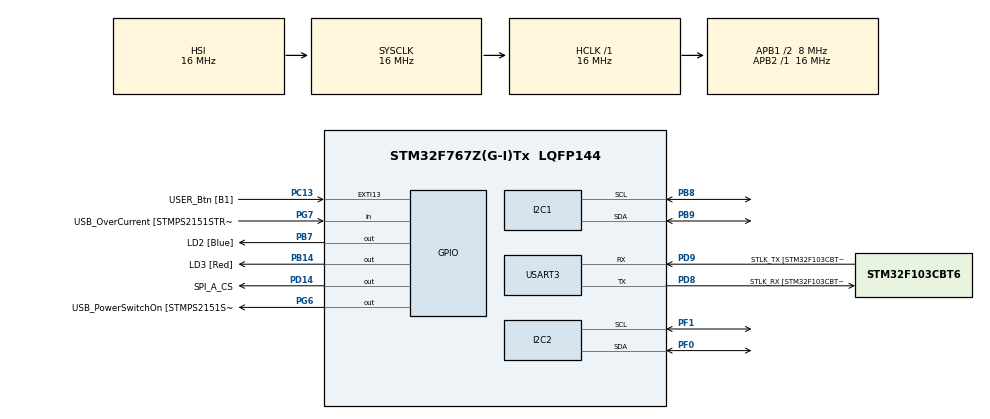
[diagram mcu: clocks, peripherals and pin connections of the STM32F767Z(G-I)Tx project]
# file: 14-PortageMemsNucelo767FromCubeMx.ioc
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Mcu.Family=STM32F7
Mcu.Name=STM32F767Z(G-I)Tx
Mcu.Package=LQFP144
NVIC.PriorityGroup=NVIC_PRIORITYGROUP_4
PA1.GPIO_Label=RMII_REF_CLK [LAN8742A-CZ-TR_REFCLK0]
PA1.Signal=ETH_REF_CLK
PA10.GPIO_Label=USB_ID
PA10.Signal=USB_OTG_FS_ID
PA11.GPIO_Label=USB_DM
PA11.Signal=USB_OTG_FS_DM
PA12.GPIO_Label=USB_DP
PA12.Signal=USB_OTG_FS_DP
PA13.GPIO_Label=TMS
PA13.Signal=SYS_JTMS-SWDIO
PA14.GPIO_Label=TCK
PA14.Signal=SYS_JTCK-SWCLK
PA2.GPIO_Label=RMII_MDIO [LAN8742A-CZ-TR_MDIO]
PA2.Signal=ETH_MDIO
PA5.GPIO_Label=SPI_A_SCK
PA5.Signal=SPI1_SCK
PA6.GPIO_Label=SPI_A_MISO
PA6.Signal=SPI1_MISO
PA7.GPIO_Label=RMII_CRS_DV [LAN8742A-CZ-TR_CRS_DV]
PA7.Signal=ETH_CRS_DV
PA8.GPIO_Label=USB_SOF [TP1]
PA8.Signal=USB_OTG_FS_SOF
PA9.GPIO_Label=USB_VBUS
PA9.Signal=USB_OTG_FS_VBUS
PB13.GPIO_Label=RMII_TXD1 [LAN8742A-CZ-TR_TXD1]
PB13.Signal=ETH_TXD1
PB14.GPIO_Label=LD3 [Red]
PB14.Signal=GPIO_Output
PB3.GPIO_Label=SW0
PB3.Signal=SYS_JTDO-SWO
PB7.GPIO_Label=LD2 [Blue]
PB7.Signal=GPIO_Output
PB8.Mode=I2C
PB8.Signal=I2C1_SCL
PB9.Mode=I2C
PB9.Signal=I2C1_SDA
PC1.GPIO_Label=RMII_MDC [LAN8742A-CZ-TR_MDC]
PC1.Signal=ETH_MDC
PC13.GPIO_Label=USER_Btn [B1]
PC13.Signal=GPXTI13
PC14/OSC32_IN.Signal=RCC_OSC32_IN
PC15/OSC32_OUT.Signal=RCC_OSC32_OUT
PC4.GPIO_Label=RMII_RXD0 [LAN8742A-CZ-TR_RXD0]
PC4.Signal=ETH_RXD0
PC5.GPIO_Label=RMII_RXD1 [LAN8742A-CZ-TR_RXD1]
PC5.Signal=ETH_RXD1
PD14.GPIO_Label=SPI_A_CS
PD14.Signal=GPIO_Output
PD8.GPIO_Label=STLK_RX [STM32F103CBT6_PA3]
PD8.Mode=Asynchronous
PD8.Signal=USART3_TX
PD9.GPIO_Label=STLK_TX [STM32F103CBT6_PA2]
PD9.Mode=Asynchronous
PD9.Signal=USART3_RX
PF0.Mode=I2C
PF0.Signal=I2C2_SDA
PF1.Mode=I2C
PF1.Signal=I2C2_SCL
PG11.GPIO_Label=RMII_TX_EN [LAN8742A-CZ-TR_TXEN]
PG11.Signal=ETH_TX_EN
PG13.GPIO_Label=RMII_TXD0 [LAN8742A-CZ-TR_TXD0]
PG13.Signal=ETH_TXD0
PG6.GPIO_Label=USB_PowerSwitchOn [STMPS2151STR_EN]
PG6.Signal=GPIO_Output
PG7.GPIO_Label=USB_OverCurrent [STMPS2151STR_FAULT]
PG7.Signal=GPIO_Input
PH0/OSC_IN.GPIO_Label=MCO [STM32F103CBT6_PA8]
PH0/OSC_IN.Signal=RCC_OSC_IN
PH1/OSC_OUT.Signal=RCC_OSC_OUT
ProjectManager.HeapSize=0x2000
ProjectManager.StackSize=0x4000
ProjectManager.TargetToolchain=SW4STM32
RCC.48MHZClocksFreq_Value=24000000
RCC.AHBFreq_Value=16000000
RCC.APB1CLKDivider=RCC_HCLK_DIV2
RCC.APB1Freq_Value=8000000
RCC.APB1TimFreq_Value=16000000
RCC.APB2Freq_Value=16000000
RCC.APB2TimFreq_Value=16000000
RCC.CortexFreq_Value=16000000
RCC.HCLKFreq_Value=16000000
RCC.HSE_VALUE=16000000
RCC.HSI_VALUE=16000000
RCC.LSE_VALUE=32768
RCC.PLLMUL=RCC_PLL_MUL9
RCC.PRESCALERUSB=RCC_USBCLKSOURCE_PLL_DIV1_5
RCC.SYSCLKFreq_VALUE=16000000
RCC.SYSCLKSourceVirtual=RCC_SYSCLKSOURCE_PLLCLK
RCC.USBFreq_Value=96000000
RCC.VCOOutputFreq_Value=192000000
USART3.VirtualMode-Asynchronous=VM_ASYNC
USART3.WordLength=WORDLENGTH_8B
VP_RTC_VS_RTC_Activate.Mode=RTC_Enabled
VP_RTC_VS_RTC_Calendar.Mode=RTC_Calendar
board=NUCLEO-F767ZI

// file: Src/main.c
/**
 ******************************************************************************
 * File Name          : main.c
 * Description        : Main program body
 ******************************************************************************
 ** This notice applies to any and all portions of this file
 * that are not between comment pairs USER CODE BEGIN and
 * USER CODE END. Other portions of this file, whether
 * inserted by the user or by software development tools
 * are owned by their respective copyright owners.
 *
 * COPYRIGHT(c) 2017 STMicroelectronics
 *
 * Redistribution and use in source and binary forms, with or without modification,
 * are permitted provided that the following conditions are met:
 *   1. Redistributions of source code must retain the above copyright notice,
 *      this list of conditions and the following disclaimer.
 *   2. Redistributions in binary form must reproduce the above copyright notice,
 *      this list of conditions and the following disclaimer in the documentation
 *      and/or other materials provided with the distribution.
 *   3. Neither the name of STMicroelectronics nor the names of its contributors
 *      may be used to endorse or promote products derived from this software
 *      without specific prior written permission.
 *
 * THIS SOFTWARE IS PROVIDED BY THE COPYRIGHT HOLDERS AND CONTRIBUTORS "AS IS"
 * AND ANY EXPRESS OR IMPLIED WARRANTIES, INCLUDING, BUT NOT LIMITED TO, THE
 * IMPLIED WARRANTIES OF MERCHANTABILITY AND FITNESS FOR A PARTICULAR PURPOSE ARE
 * DISCLAIMED. IN NO EVENT SHALL THE COPYRIGHT HOLDER OR CONTRIBUTORS BE LIABLE
 * FOR ANY DIRECT, INDIRECT, INCIDENTAL, SPECIAL, EXEMPLARY, OR CONSEQUENTIAL
 * DAMAGES (INCLUDING, BUT NOT LIMITED TO, PROCUREMENT OF SUBSTITUTE GOODS OR
 * SERVICES; LOSS OF USE, DATA, OR PROFITS; OR BUSINESS INTERRUPTION) HOWEVER
 * CAUSED AND ON ANY THEORY OF LIABILITY, WHETHER IN CONTRACT, STRICT LIABILITY,
 * OR TORT (INCLUDING NEGLIGENCE OR OTHERWISE) ARISING IN ANY WAY OUT OF THE USE
 * OF THIS SOFTWARE, EVEN IF ADVISED OF THE POSSIBILITY OF SUCH DAMAGE.
 *
 ******************************************************************************
 */
#include "main.h"
#include "stm32f7xx_hal.h"
#include "i2c.h"
#include "rtc.h"
#include "usart.h"
#include "gpio.h"

/* USER CODE BEGIN Includes */
#include "mainMotionSensors.h"
#include <math.h>

/* USER CODE END Includes */

/* USER CODE BEGIN PV */
/* Private variables ---------------------------------------------------------*/
static uint8_t verbose              = 0;  /* Verbose output to UART terminal ON/OFF. */

#define MAX_BUF_SIZE 256

typedef struct displayFloatToInt_s {
	int8_t sign; /* 0 means positive, 1 means negative*/
	uint32_t  out_int;
	uint32_t  out_dec;
} displayFloatToInt_t;

uint16_t cmpt = 0;

static void *LSM6DSL_X_0_handle = NULL;
static void *LSM6DSL_G_0_handle = NULL;
static void *LSM303AGR_X_0_handle = NULL;
static void *LSM303AGR_M_0_handle = NULL;
static void *HTS221_H_0_handle  = NULL;
static void *HTS221_T_0_handle  = NULL;
static void *LPS22HB_P_0_handle  = NULL;
static void *LPS22HB_T_0_handle  = NULL;

static RTC_HandleTypeDef RtcHandle;

static char dataOut[MAX_BUF_SIZE];

/* USER CODE END PV */

void SystemClock_Config(void);

/* USER CODE BEGIN PFP */
/* Private function prototypes -----------------------------------------------*/
static void Accelero_Sensor_Handler( void *handle );
static void Gyro_Sensor_Handler( void *handle );
static void Magneto_Sensor_Handler( void *handle );
static void Humidity_Sensor_Handler( void *handle );
static void Temperature_Sensor_Handler( void *handle );
static void Pressure_Sensor_Handler( void *handle );

static void RTC_TimeStampConfig( void );
static void initializeAllSensors( void );
static void enableAllSensors( void );
static void disableAllSensors( void );
static void floatToInt(float in, displayFloatToInt_t *out_value, int32_t dec_prec);
static void RTC_Handler( void );

/* USER CODE END PFP */

/* USER CODE BEGIN 0 */

/**
 * @brief  Splits a float into two integer values.
 * @param  in the float value as input
 * @param  out_value the pointer to the output integer structure
 * @param  dec_prec the decimal precision to be used
 * @retval None
 */
static void floatToInt(float in, displayFloatToInt_t *out_value, int32_t dec_prec)
{
	if(in >= 0.0f)
	{
		out_value->sign = 0;
	}else
	{
		out_value->sign = 1;
		in = -in;
	}

	out_value->out_int = (int32_t)in;
	in = in - (float)(out_value->out_int);
	out_value->out_dec = (int32_t)trunc(in * pow(10, dec_prec));
}

/* USER CODE END 0 */

int main(void)
{

	/* MCU Configuration----------------------------------------------------------*/

	/* Reset of all peripherals, Initializes the Flash interface and the Systick. */
	HAL_Init();

	/* Configure the system clock */
	SystemClock_Config();

	/* Initialize all configured peripherals */
	MX_GPIO_Init();
	MX_I2C1_Init();
	MX_I2C2_Init();
	MX_USART3_UART_Init();
	MX_RTC_Init();

	/* USER CODE BEGIN 2 */
	RTC_TimeStampConfig();
	initializeAllSensors();

	/* USER CODE END 2 */

	/* Infinite loop */
	/* USER CODE BEGIN WHILE */
	while (1)
	{
		enableAllSensors();
		printf("\r\n\r\nMain While %d\r\n", cmpt++);

		Accelero_Sensor_Handler( LSM6DSL_X_0_handle );
		Gyro_Sensor_Handler( LSM6DSL_G_0_handle );
		Accelero_Sensor_Handler( LSM303AGR_X_0_handle );
		Magneto_Sensor_Handler( LSM303AGR_M_0_handle );
		Humidity_Sensor_Handler( HTS221_H_0_handle );
		Temperature_Sensor_Handler( HTS221_T_0_handle );
		Temperature_Sensor_Handler( LPS22HB_T_0_handle );
		Pressure_Sensor_Handler( LPS22HB_P_0_handle );

		HAL_Delay(1000);
		/* USER CODE END WHILE */
	}

}

/** System Clock Configuration
 */
void SystemClock_Config(void)
{

	RCC_OscInitTypeDef RCC_OscInitStruct;
	RCC_ClkInitTypeDef RCC_ClkInitStruct;
	RCC_PeriphCLKInitTypeDef PeriphClkInitStruct;

	/**Configure the main internal regulator output voltage
	 */
	__HAL_RCC_PWR_CLK_ENABLE();

	__HAL_PWR_VOLTAGESCALING_CONFIG(PWR_REGULATOR_VOLTAGE_SCALE3);

	/**Initializes the CPU, AHB and APB busses clocks
	 */
	RCC_OscInitStruct.OscillatorType = RCC_OSCILLATORTYPE_HSI|RCC_OSCILLATORTYPE_LSI;
	RCC_OscInitStruct.HSIState = RCC_HSI_ON;
	RCC_OscInitStruct.HSICalibrationValue = 16;
	RCC_OscInitStruct.LSIState = RCC_LSI_ON;
	RCC_OscInitStruct.PLL.PLLState = RCC_PLL_NONE;
	if (HAL_RCC_OscConfig(&RCC_OscInitStruct) != HAL_OK)
	{
		_Error_Handler(__FILE__, __LINE__);
	}

	/**Initializes the CPU, AHB and APB busses clocks
	 */
	RCC_ClkInitStruct.ClockType = RCC_CLOCKTYPE_HCLK|RCC_CLOCKTYPE_SYSCLK
			|RCC_CLOCKTYPE_PCLK1|RCC_CLOCKTYPE_PCLK2;
	RCC_ClkInitStruct.SYSCLKSource = RCC_SYSCLKSOURCE_HSI;
	RCC_ClkInitStruct.AHBCLKDivider = RCC_SYSCLK_DIV1;
	RCC_ClkInitStruct.APB1CLKDivider = RCC_HCLK_DIV2;
	RCC_ClkInitStruct.APB2CLKDivider = RCC_HCLK_DIV1;

	if (HAL_RCC_ClockConfig(&RCC_ClkInitStruct, FLASH_LATENCY_0) != HAL_OK)
	{
		_Error_Handler(__FILE__, __LINE__);
	}

	PeriphClkInitStruct.PeriphClockSelection = RCC_PERIPHCLK_RTC|RCC_PERIPHCLK_USART3
			|RCC_PERIPHCLK_I2C1|RCC_PERIPHCLK_I2C2;
	PeriphClkInitStruct.RTCClockSelection = RCC_RTCCLKSOURCE_LSI;
	PeriphClkInitStruct.Usart3ClockSelection = RCC_USART3CLKSOURCE_PCLK1;
	PeriphClkInitStruct.I2c1ClockSelection = RCC_I2C1CLKSOURCE_PCLK1;
	PeriphClkInitStruct.I2c2ClockSelection = RCC_I2C2CLKSOURCE_PCLK1;
	if (HAL_RCCEx_PeriphCLKConfig(&PeriphClkInitStruct) != HAL_OK)
	{
		_Error_Handler(__FILE__, __LINE__);
	}

	/**Configure the Systick interrupt time
	 */
	HAL_SYSTICK_Config(HAL_RCC_GetHCLKFreq()/1000);

	/**Configure the Systick
	 */
	HAL_SYSTICK_CLKSourceConfig(SYSTICK_CLKSOURCE_HCLK);

	/* SysTick_IRQn interrupt configuration */
	HAL_NVIC_SetPriority(SysTick_IRQn, 0, 0);
}

/* USER CODE BEGIN 4 */

/**
 * @brief  Handles the accelerometer axes data getting/sending
 * @param  handle the device handle
 * @retval None
 */
static void Accelero_Sensor_Handler( void *handle )
{

	uint8_t who_am_i;
	float odr;
	float fullScale;
	uint8_t id;
	SensorAxes_t acceleration;
	uint8_t status;
	displayFloatToInt_t out_value;

	BSP_ACCELERO_Get_Instance( handle, &id );

	BSP_ACCELERO_IsInitialized( handle, &status );

	if ( status == 1 )
	{
		if ( BSP_ACCELERO_Get_Axes( handle, &acceleration ) == COMPONENT_ERROR )
		{
			acceleration.AXIS_X = 0;
			acceleration.AXIS_Y = 0;
			acceleration.AXIS_Z = 0;
		}

		snprintf( dataOut, MAX_BUF_SIZE, "ACC_X[%d]: %d, ACC_Y[%d]: %d, ACC_Z[%d]: %d\r\n", (int)id, (int)acceleration.AXIS_X, (int)id,
				(int)acceleration.AXIS_Y, (int)id, (int)acceleration.AXIS_Z );

		printf("%s", ( uint8_t * )dataOut);

		if ( verbose == 1 )
		{
			if ( BSP_ACCELERO_Get_WhoAmI( handle, &who_am_i ) == COMPONENT_ERROR )
			{
				snprintf( dataOut, MAX_BUF_SIZE, "WHO AM I address[%d]: ERROR\r\n", id );
			}
			else
			{
				snprintf( dataOut, MAX_BUF_SIZE, "WHO AM I address[%d]: 0x%02X\r\n", id, who_am_i );
			}
			printf("%s", ( uint8_t * )dataOut);

			if ( BSP_ACCELERO_Get_ODR( handle, &odr ) == COMPONENT_ERROR )
			{
				snprintf( dataOut, MAX_BUF_SIZE, "ODR[%d]: ERROR\r\n", id );
			}
			else
			{
				floatToInt( odr, &out_value, 3 );
				snprintf( dataOut, MAX_BUF_SIZE, "ODR[%d]: %d.%03d Hz\r\n", (int)id, (int)out_value.out_int, (int)out_value.out_dec );
			}
			printf("%s", ( uint8_t * )dataOut);

			if ( BSP_ACCELERO_Get_FS( handle, &fullScale ) == COMPONENT_ERROR )
			{
				snprintf( dataOut, MAX_BUF_SIZE, "FS[%d]: ERROR\r\n", id );
			}
			else
			{
				floatToInt( fullScale, &out_value, 3 );
				snprintf( dataOut, MAX_BUF_SIZE, "FS[%d]: %d.%03d g\r\n", (int)id, (int)out_value.out_int, (int)out_value.out_dec );
			}
			printf("%s", ( uint8_t * )dataOut);
		}
	}
}

/**
 * @brief  Handles the gyroscope axes data getting/sending
 * @param  handle the device handle
 * @retval None
 */
static void Gyro_Sensor_Handler( void *handle )
{

	uint8_t who_am_i;
	float odr;
	float fullScale;
	uint8_t id;
	SensorAxes_t angular_velocity;
	uint8_t status;
	displayFloatToInt_t out_value;

	BSP_GYRO_Get_Instance( handle, &id );

	BSP_GYRO_IsInitialized( handle, &status );

	if ( status == 1 )
	{
		if ( BSP_GYRO_Get_Axes( handle, &angular_velocity ) == COMPONENT_ERROR )
		{
			angular_velocity.AXIS_X = 0;
			angular_velocity.AXIS_Y = 0;
			angular_velocity.AXIS_Z = 0;
		}

		snprintf( dataOut, MAX_BUF_SIZE, "GYR_X[%d]: %d, GYR_Y[%d]: %d, GYR_Z[%d]: %d\r\n", (int)id, (int)angular_velocity.AXIS_X, (int)id,
				(int)angular_velocity.AXIS_Y, (int)id, (int)angular_velocity.AXIS_Z );
		printf("%s", ( uint8_t * )dataOut);

		if ( verbose == 1 )
		{
			if ( BSP_GYRO_Get_WhoAmI( handle, &who_am_i ) == COMPONENT_ERROR )
			{
				snprintf( dataOut, MAX_BUF_SIZE, "WHO AM I address[%d]: ERROR\r\n", id );
			}
			else
			{
				snprintf( dataOut, MAX_BUF_SIZE, "WHO AM I address[%d]: 0x%02X\r\n", id, who_am_i );
			}
			printf("%s", ( uint8_t * )dataOut);

			if ( BSP_GYRO_Get_ODR( handle, &odr ) == COMPONENT_ERROR )
			{
				snprintf( dataOut, MAX_BUF_SIZE, "ODR[%d]: ERROR\r\n", id );
			}
			else
			{
				floatToInt( odr, &out_value, 3 );
				snprintf( dataOut, MAX_BUF_SIZE, "ODR[%d]: %d.%03d Hz\r\n", (int)id, (int)out_value.out_int, (int)out_value.out_dec );
			}
			printf("%s", ( uint8_t * )dataOut);

			if ( BSP_GYRO_Get_FS( handle, &fullScale ) == COMPONENT_ERROR )
			{
				snprintf( dataOut, MAX_BUF_SIZE, "FS[%d]: ERROR\r\n", id );
			}
			else
			{
				floatToInt( fullScale, &out_value, 3 );
				snprintf( dataOut, MAX_BUF_SIZE, "FS[%d]: %d.%03d dps\r\n", (int)id, (int)out_value.out_int, (int)out_value.out_dec );
			}
			printf("%s", ( uint8_t * )dataOut);
		}
	}
}

/**
 * @brief  Handles the magneto axes data getting/sending
 * @param  handle the device handle
 * @retval None
 */
static void Magneto_Sensor_Handler( void *handle )
{

	uint8_t who_am_i;
	float odr;
	float fullScale;
	uint8_t id;
	SensorAxes_t magnetic_field;
	uint8_t status;
	displayFloatToInt_t out_value;

	BSP_MAGNETO_Get_Instance( handle, &id );

	BSP_MAGNETO_IsInitialized( handle, &status );

	if ( status == 1 )
	{
		if ( BSP_MAGNETO_Get_Axes( handle, &magnetic_field ) == COMPONENT_ERROR )
		{
			magnetic_field.AXIS_X = 0;
			magnetic_field.AXIS_Y = 0;
			magnetic_field.AXIS_Z = 0;
		}

		snprintf( dataOut, MAX_BUF_SIZE, "MAG_X[%d]: %d, MAG_Y[%d]: %d, MAG_Z[%d]: %d\r\n", (int)id, (int)magnetic_field.AXIS_X, (int)id,
				(int)magnetic_field.AXIS_Y, (int)id, (int)magnetic_field.AXIS_Z );
		printf("%s", ( uint8_t * )dataOut);

		if ( verbose == 1 )
		{
			if ( BSP_MAGNETO_Get_WhoAmI( handle, &who_am_i ) == COMPONENT_ERROR )
			{
				snprintf( dataOut, MAX_BUF_SIZE, "WHO AM I address[%d]: ERROR\r\n", id );
			}
			else
			{
				snprintf( dataOut, MAX_BUF_SIZE, "WHO AM I address[%d]: 0x%02X\r\n", id, who_am_i );
			}
			printf("%s", ( uint8_t * )dataOut);

			if ( BSP_MAGNETO_Get_ODR( handle, &odr ) == COMPONENT_ERROR )
			{
				snprintf( dataOut, MAX_BUF_SIZE, "ODR[%d]: ERROR\r\n", id );
			}
			else
			{
				floatToInt( odr, &out_value, 3 );
				snprintf( dataOut, MAX_BUF_SIZE, "ODR[%d]: %d.%03d Hz\r\n", (int)id, (int)out_value.out_int, (int)out_value.out_dec );
			}
			printf("%s", ( uint8_t * )dataOut);

			if ( BSP_MAGNETO_Get_FS( handle, &fullScale ) == COMPONENT_ERROR )
			{
				snprintf( dataOut, MAX_BUF_SIZE, "FS[%d]: ERROR\r\n", id );
			}
			else
			{
				floatToInt( fullScale, &out_value, 3 );
				snprintf( dataOut, MAX_BUF_SIZE, "FS[%d]: %d.%03d Gauss\r\n", (int)id, (int)out_value.out_int, (int)out_value.out_dec );
			}
			printf("%s", ( uint8_t * )dataOut);
		}
	}
}

/**
 * @brief  Handles the humidity data getting/sending
 * @param  handle the device handle
 * @retval None
 */
static void Humidity_Sensor_Handler( void *handle )
{

	uint8_t who_am_i;
	float odr;
	uint8_t id;
	float humidity;
	uint8_t status;
	displayFloatToInt_t out_value;

	BSP_HUMIDITY_Get_Instance( handle, &id );

	BSP_HUMIDITY_IsInitialized( handle, &status );

	if ( status == 1 )
	{
		if ( BSP_HUMIDITY_Get_Hum( handle, &humidity ) == COMPONENT_ERROR )
		{
			humidity = 0.0f;
		}

		floatToInt( humidity, &out_value, 2 );
		snprintf( dataOut, MAX_BUF_SIZE, "HUM[%d]: %d.%02d\r\n", (int)id, (int)out_value.out_int, (int)out_value.out_dec );
		printf("%s", ( uint8_t * )dataOut);

		if ( verbose == 1 )
		{
			if ( BSP_HUMIDITY_Get_WhoAmI( handle, &who_am_i ) == COMPONENT_ERROR )
			{
				snprintf( dataOut, MAX_BUF_SIZE, "WHO AM I address[%d]: ERROR\r\n", id );
			}
			else
			{
				snprintf( dataOut, MAX_BUF_SIZE, "WHO AM I address[%d]: 0x%02X\r\n", id, who_am_i );
			}
			printf("%s", ( uint8_t * )dataOut);

			if ( BSP_HUMIDITY_Get_ODR( handle, &odr ) == COMPONENT_ERROR )
			{
				snprintf( dataOut, MAX_BUF_SIZE, "ODR[%d]: ERROR\r\n", id );
			}
			else
			{
				floatToInt( odr, &out_value, 3 );
				snprintf( dataOut, MAX_BUF_SIZE, "ODR[%d]: %d.%03d Hz\r\n", (int)id, (int)out_value.out_int, (int)out_value.out_dec );
			}
			printf("%s", ( uint8_t * )dataOut);
		}
	}
}

/**
 * @brief  Handles the temperature data getting/sending
 * @param  handle the device handle
 * @retval None
 */
static void Temperature_Sensor_Handler( void *handle )
{

	uint8_t who_am_i;
	float odr;
	uint8_t id;
	float temperature;
	uint8_t status;
	displayFloatToInt_t out_value;

	BSP_TEMPERATURE_Get_Instance( handle, &id );

	BSP_TEMPERATURE_IsInitialized( handle, &status );

	if ( status == 1 )
	{
		if ( BSP_TEMPERATURE_Get_Temp( handle, &temperature ) == COMPONENT_ERROR )
		{
			temperature = 0.0f;
		}

		floatToInt( temperature, &out_value, 2 );
		snprintf( dataOut, MAX_BUF_SIZE, "TEMP[%d]: %c%d.%02d\r\n", (int)id, ((out_value.sign) ? '-' : '+'), (int)out_value.out_int, (int)out_value.out_dec );
		printf("%s", ( uint8_t * )dataOut);

		if ( verbose == 1 )
		{
			if ( BSP_TEMPERATURE_Get_WhoAmI( handle, &who_am_i ) == COMPONENT_ERROR )
			{
				snprintf( dataOut, MAX_BUF_SIZE, "WHO AM I address[%d]: ERROR\r\n", id );
			}
			else
			{
				snprintf( dataOut, MAX_BUF_SIZE, "WHO AM I address[%d]: 0x%02X\r\n", id, who_am_i );
			}
			printf("%s", ( uint8_t * )dataOut);

			if ( BSP_TEMPERATURE_Get_ODR( handle, &odr ) == COMPONENT_ERROR )
			{
				snprintf( dataOut, MAX_BUF_SIZE, "ODR[%d]: ERROR\r\n", id );
			}
			else
			{
				floatToInt( odr, &out_value, 3 );
				snprintf( dataOut, MAX_BUF_SIZE, "ODR[%d]: %d.%03d Hz\r\n", (int)id, (int)out_value.out_int, (int)out_value.out_dec );
			}
			printf("%s", ( uint8_t * )dataOut);
		}
	}
}

/**
 * @brief  Handles the pressure sensor data getting/sending
 * @param  handle the device handle
 * @retval None
 */
static void Pressure_Sensor_Handler( void *handle )
{

	uint8_t who_am_i;
	float odr;
	uint8_t id;
	float pressure;
	uint8_t status;
	displayFloatToInt_t out_value;

	BSP_PRESSURE_Get_Instance( handle, &id );

	BSP_PRESSURE_IsInitialized( handle, &status );

	if( status == 1 )
	{
		if ( BSP_PRESSURE_Get_Press( handle, &pressure ) == COMPONENT_ERROR )
		{
			pressure = 0.0f;
		}

		floatToInt( pressure, &out_value, 2 );
		snprintf(dataOut, MAX_BUF_SIZE, "PRESS[%d]: %d.%02d\r\n", (int)id, (int)out_value.out_int, (int)out_value.out_dec);
		printf("%s", ( uint8_t * )dataOut);

		if ( verbose == 1 )
		{
			if ( BSP_PRESSURE_Get_WhoAmI( handle, &who_am_i ) == COMPONENT_ERROR )
			{
				snprintf( dataOut, MAX_BUF_SIZE, "WHO AM I address[%d]: ERROR\r\n", id );
			}
			else
			{
				snprintf( dataOut, MAX_BUF_SIZE, "WHO AM I address[%d]: 0x%02X\r\n", id, who_am_i );
			}
			printf("%s", ( uint8_t * )dataOut);

			if ( BSP_PRESSURE_Get_ODR( handle, &odr ) == COMPONENT_ERROR )
			{
				snprintf( dataOut, MAX_BUF_SIZE, "ODR[%d]: ERROR\r\n", id );
			}
			else
			{
				floatToInt( odr, &out_value, 3 );
				snprintf( dataOut, MAX_BUF_SIZE, "ODR[%d]: %d.%03d Hz\r\n", (int)id, (int)out_value.out_int, (int)out_value.out_dec );
			}
			printf("%s", ( uint8_t * )dataOut);
		}
	}
}

/**
 * @brief  Initialize all sensors
 * @param  None
 * @retval None
 */
static void initializeAllSensors( void )
{

	BSP_ACCELERO_Init( LSM6DSL_X_0, &LSM6DSL_X_0_handle );
	BSP_GYRO_Init( LSM6DSL_G_0, &LSM6DSL_G_0_handle );
	BSP_ACCELERO_Init( LSM303AGR_X_0, &LSM303AGR_X_0_handle );
	BSP_MAGNETO_Init( LSM303AGR_M_0, &LSM303AGR_M_0_handle );
	BSP_HUMIDITY_Init( HTS221_H_0, &HTS221_H_0_handle );
	BSP_TEMPERATURE_Init( HTS221_T_0, &HTS221_T_0_handle );
	BSP_TEMPERATURE_Init( LPS22HB_T_0, &LPS22HB_T_0_handle );
	BSP_PRESSURE_Init( LPS22HB_P_0, &LPS22HB_P_0_handle );
}

/**
 * @brief  Enable all sensors
 * @param  None
 * @retval None
 */
static void enableAllSensors( void )
{

	BSP_ACCELERO_Sensor_Enable( LSM6DSL_X_0_handle );
	BSP_GYRO_Sensor_Enable( LSM6DSL_G_0_handle );
	BSP_ACCELERO_Sensor_Enable( LSM303AGR_X_0_handle );
	BSP_MAGNETO_Sensor_Enable( LSM303AGR_M_0_handle );
	BSP_HUMIDITY_Sensor_Enable( HTS221_H_0_handle );
	BSP_TEMPERATURE_Sensor_Enable( HTS221_T_0_handle );
	BSP_TEMPERATURE_Sensor_Enable( LPS22HB_T_0_handle );
	BSP_PRESSURE_Sensor_Enable( LPS22HB_P_0_handle );
}

/**
 * @brief  Disable all sensors
 * @param  None
 * @retval None
 */
static void disableAllSensors( void )
{

	BSP_ACCELERO_Sensor_Disable( LSM6DSL_X_0_handle );
	BSP_GYRO_Sensor_Disable( LSM6DSL_G_0_handle );
	BSP_ACCELERO_Sensor_Disable( LSM303AGR_X_0_handle );
	BSP_MAGNETO_Sensor_Disable( LSM303AGR_M_0_handle );
	BSP_HUMIDITY_Sensor_Disable( HTS221_H_0_handle );
	BSP_TEMPERATURE_Sensor_Disable( HTS221_T_0_handle );
	BSP_TEMPERATURE_Sensor_Disable( LPS22HB_T_0_handle );
	BSP_PRESSURE_Sensor_Disable( LPS22HB_P_0_handle );
}

/**
 * @brief  Configures the current time and date
 * @param  None
 * @retval None
 */
static void RTC_TimeStampConfig( void )
{

	RTC_DateTypeDef sdatestructure;
	RTC_TimeTypeDef stimestructure;

	/*##-3- Configure the Date using BCD format ################################*/
	/* Set Date: Monday January 1st 2000 */
	sdatestructure.Year    = 0x00;
	sdatestructure.Month   = RTC_MONTH_JANUARY;
	sdatestructure.Date    = 0x01;
	sdatestructure.WeekDay = RTC_WEEKDAY_MONDAY;

	if ( HAL_RTC_SetDate( &RtcHandle, &sdatestructure, FORMAT_BCD ) != HAL_OK )
	{

		/* Initialization Error */
		Error_Handler();
	}

	/*##-4- Configure the Time using BCD format#################################*/
	/* Set Time: 00:00:00 */
	stimestructure.Hours          = 0x00;
	stimestructure.Minutes        = 0x00;
	stimestructure.Seconds        = 0x00;
	stimestructure.TimeFormat     = RTC_HOURFORMAT12_AM;
	stimestructure.DayLightSaving = RTC_DAYLIGHTSAVING_NONE ;
	stimestructure.StoreOperation = RTC_STOREOPERATION_RESET;

	if ( HAL_RTC_SetTime( &RtcHandle, &stimestructure, FORMAT_BCD ) != HAL_OK )
	{

		/* Initialization Error */
		Error_Handler();
	}
}

/* USER CODE END 4 */

void _Error_Handler(char * file, int line)
{
	while(1)
	{
	}
}

/************************ (C) COPYRIGHT STMicroelectronics *****END OF FILE****/
